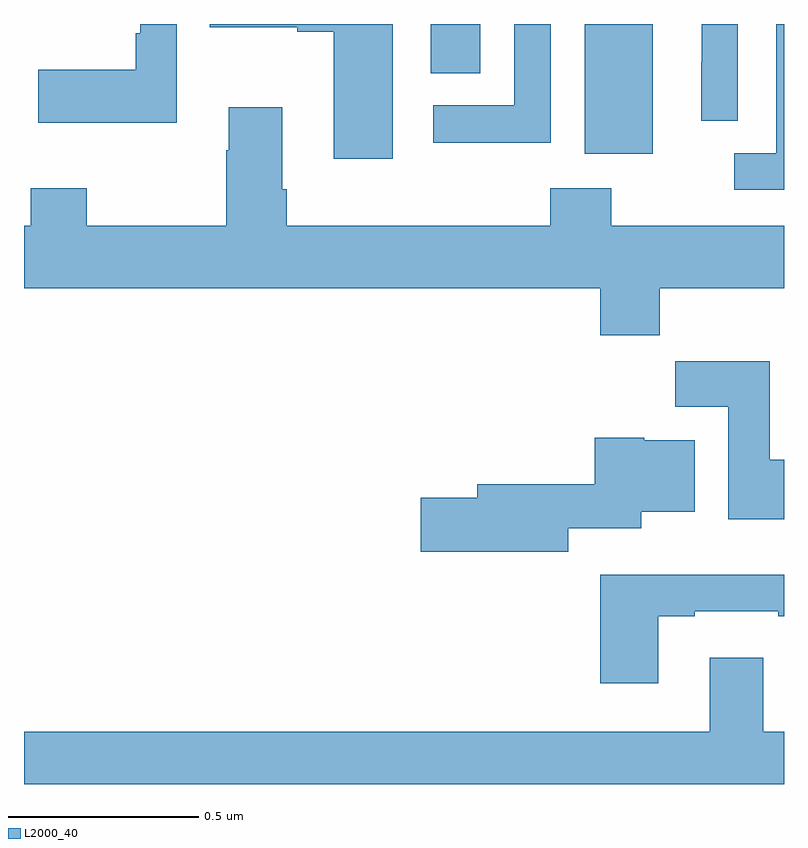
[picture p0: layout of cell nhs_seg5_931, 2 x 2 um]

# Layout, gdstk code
import gdstk
lib = gdstk.Library(unit=1e-6, precision=1e-09)
def R(c, l, rs):  # rectangles x0, y0, x1, y1
    for r in rs: c.add(gdstk.rectangle(r[:2], r[2:], *l))
def P(c, l, *ps):  # polygons
    for p in ps: c.add(gdstk.Polygon(p, *l))
L2000_40 = (2000, 40)

nhs_seg5_931 = lib.new_cell('nhs_seg5_931')
R(nhs_seg5_931, L2000_40, [(124.475,846.458,124.654,846.799), (124.07,846.67,124.201,846.799)])
P(nhs_seg5_931, L2000_40, [(125,846.799),(124.979,846.799),(124.979,846.459),(124.869,846.459),(124.869,846.363),(125,846.363)],
  [(123.97,846.799),(123.489,846.799),(123.489,846.791),(123.719,846.791),(123.719,846.779),(123.815,846.779),(123.815,846.444),(123.97,846.444)],
  [(123.402,846.799),(123.306,846.799),(123.306,846.775),(123.294,846.775),(123.294,846.679),(123.037,846.679),(123.037,846.539),(123.402,846.539)],
  [(124.386,846.799),(124.29,846.799),(124.29,846.585),(124.077,846.585),(124.077,846.487),(124.386,846.487)],
  [(124.878,846.799),(124.784,846.799),(124.784,846.698),(124.782,846.698),(124.782,846.544),(124.878,846.544)],
  [(124.673,846.104),(125,846.104),(125,846.268),(124.545,846.268),(124.545,846.367),(124.385,846.367),(124.385,846.268),(123.692,846.268),(123.692,846.364),(123.679,846.364),(123.679,846.58),(123.539,846.58),(123.539,846.467),(123.532,846.467),(123.532,846.268),(123.165,846.268),(123.165,846.367),(123.018,846.367),(123.018,846.268),(123,846.268),(123,846.104),(124.517,846.104),(124.517,845.98),(124.673,845.98)],
  [(125,845.652),(124.963,845.652),(124.963,845.911),(124.714,845.911),(124.714,845.792),(124.853,845.792),(124.853,845.496),(125,845.496)],
  [(124.432,845.472),(124.624,845.472),(124.624,845.516),(124.765,845.516),(124.765,845.704),(124.632,845.704),(124.632,845.71),(124.502,845.71),(124.502,845.588),(124.193,845.588),(124.193,845.552),(124.044,845.552),(124.044,845.41),(124.432,845.41)],
  [(124.669,845.241),(124.765,845.241),(124.765,845.253),(124.985,845.253),(124.985,845.241),(125,845.241),(125,845.35),(124.517,845.35),(124.517,845.064),(124.669,845.064)],
  [(125,844.936),(124.945,844.936),(124.945,845.131),(124.805,845.131),(124.805,844.936),(123,844.936),(123,844.799),(125,844.799)])

lib.write_gds('nhs_seg5_931.gds')
